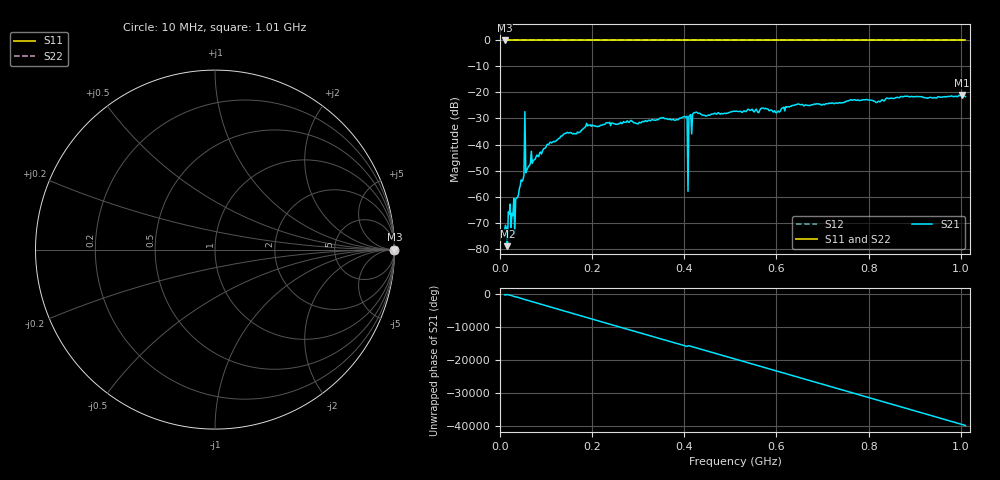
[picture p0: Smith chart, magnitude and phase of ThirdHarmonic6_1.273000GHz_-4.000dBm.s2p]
! 8/16/2025 1:47:01 PM
! C:\ANRITSUVNA\TEMP\TEMP.S2P
! CHANNEL.1
! TR.MEASUREMENT
! RAW.DATA
! RF.CORRECTION.OFF
! AVERAGING.OFF
! IF.BANDWIDTH: 5KHZ
! SWEEPTYPE:  FREQ.SWEEP(Linear)
! Reference Plane Port Info
! PORT:  PORT1  PORT2
! DISTANCE:  0  m  0  m
! TIME:  0  s  0  s
! PHASE.OFFSET:  0  deg.  0  deg.
! LOSS:  0  dB  0  dB
! REF.LOSS:  0  dB  0  dB
! REF.FREQ:  0  Hz  0  Hz
! Power Info
! POWER:  -20  dBm  -20  dBm
! EFF.POWER:  -20  dBm  -20  dBm
! SOURCE.ATTEN:  0  dB  0  dB
! TEST.ATTEN:  0  dB  0  dB
# GHZ S RI R 50.0
! FREQ.GHZ  S11RE  S11IM  S21RE  S21IM  S12RE  S12IM  S22RE  S22IM
!; PortSelection: Port_12
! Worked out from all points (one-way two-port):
!   501 points, 10 MHz to 1.01 GHz, reference 50 ohm
!   highest |S21| = -21.00 dB at 1.002 GHz (marker M1); lowest = -79.1 dB at 16 MHz (marker M2)
!   lowest |S11| = 0.0 dB at 10 MHz (marker M3)
!   |S11| at or under -10 dB: nowhere
!   |S22| runs from 0.0 to 0.0 dB; largest |S21 - S12| = 1.1
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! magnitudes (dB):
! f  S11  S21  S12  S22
! 10 MHz  0.0  -72.8  0.0  0.0
! 16 MHz  0.0  -79.1  0.0  0.0
! 22 MHz  0.0  -62.9  0.0  0.0
! 26 MHz  0.0  -66.5  0.0  0.0
! 28 MHz  0.0  -67.4  0.0  0.0
! 48 MHz  0.0  -54.1  0.0  0.0
! 50 MHz  0.0  -53.5  0.0  0.0
! 58 MHz  0.0  -49.8  0.0  0.0
! 60 MHz  0.0  -49.2  0.0  0.0
! 106 MHz  0.0  -39.9  0.0  0.0
! 178 MHz  0.0  -34.3  0.0  0.0
! 344 MHz  0.0  -30.4  0.0  0.0
! 402 MHz  0.0  -29.5  0.0  0.0
! 404 MHz  0.0  -29.3  0.0  0.0
! 412 MHz  0.0  -28.8  0.0  0.0
! 414 MHz  0.0  -28.5  0.0  0.0
! 422 MHz  0.0  -27.8  0.0  0.0
! 510 MHz  0.0  -27.2  0.0  0.0
! 678 MHz  0.0  -24.7  0.0  0.0
! 844 MHz  0.0  -22.3  0.0  0.0
! 1.002 GHz  0.0  -21.0  0.0  0.0
! 1.01 GHz  0.0  -21.6  0.0  0.0
